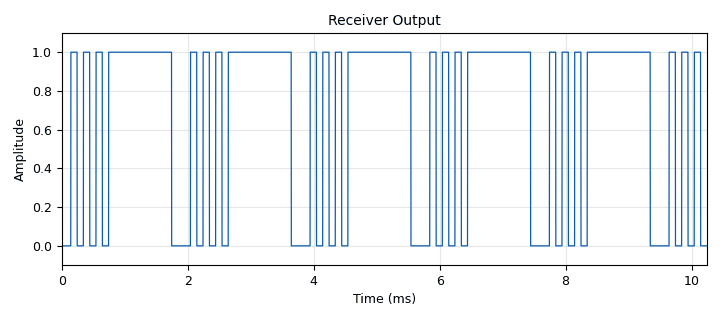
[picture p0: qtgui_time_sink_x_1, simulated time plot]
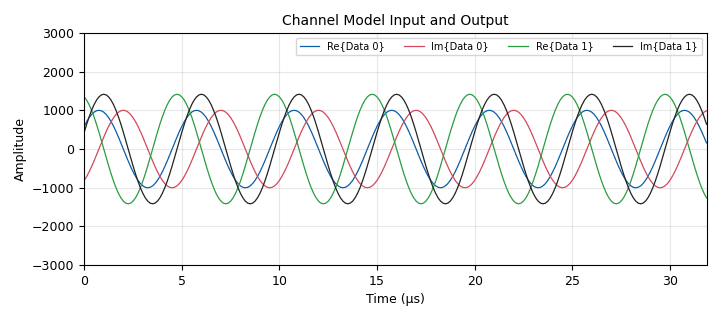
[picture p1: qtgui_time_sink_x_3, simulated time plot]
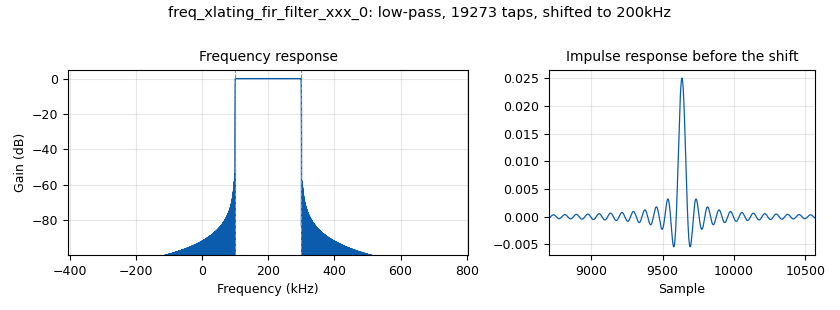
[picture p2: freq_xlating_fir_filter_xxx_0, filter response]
<?xml version='1.0' encoding='utf-8'?>
<?grc format='1' created='3.7.11'?>
<flow_graph>
<block>
<key>options</key>
<param><key>id</key><value>top_block</value></param>
<param><key>generate_options</key><value>qt_gui</value></param>
</block>
<block>
<key>variable</key>
<param><key>id</key><value>center_freq</value></param>
<param><key>value</key><value>313e6</value></param>
</block>
<block>
<key>variable</key>
<param><key>id</key><value>filter_cutoff</value></param>
<param><key>value</key><value>100e3</value></param>
</block>
<block>
<key>variable</key>
<param><key>id</key><value>filter_transition</value></param>
<param><key>value</key><value>1e3</value></param>
</block>
<block>
<key>variable_qtgui_entry</key>
<param><key>id</key><value>freq</value></param>
<param><key>value</key><value>313.2e6</value></param>
<param><key>type</key><value>real</value></param>
</block>
<block>
<key>variable_qtgui_entry</key>
<param><key>id</key><value>freq_match</value></param>
<param><key>value</key><value>1</value></param>
<param><key>type</key><value>real</value></param>
</block>
<block>
<key>variable_qtgui_range</key>
<param><key>id</key><value>freq_offset</value></param>
<param><key>value</key><value>0</value></param>
<param><key>orient</key><value>Qt.Horizontal</value></param>
<param><key>start</key><value>-1</value></param>
<param><key>step</key><value>0.001</value></param>
<param><key>stop</key><value>1</value></param>
</block>
<block>
<key>variable_qtgui_range</key>
<param><key>id</key><value>noise</value></param>
<param><key>value</key><value>0</value></param>
<param><key>orient</key><value>Qt.Horizontal</value></param>
<param><key>start</key><value>0</value></param>
<param><key>step</key><value>100</value></param>
<param><key>stop</key><value>5000</value></param>
</block>
<block>
<key>variable</key>
<param><key>id</key><value>samp_rate</value></param>
<param><key>value</key><value>8e6</value></param>
</block>
<block>
<key>variable_qtgui_entry</key>
<param><key>id</key><value>sensitivity</value></param>
<param><key>value</key><value>math.pi/2</value></param>
<param><key>type</key><value>real</value></param>
</block>
<block>
<key>variable</key>
<param><key>id</key><value>working_samp_rate</value></param>
<param><key>value</key><value>400e3</value></param>
</block>
<block>
<key>analog_phase_modulator_fc</key>
<param><key>id</key><value>analog_phase_modulator_fc_0</value></param>
<param><key>sensitivity</key><value>sensitivity</value></param>
</block>
<block>
<key>analog_sig_source_x</key>
<param><key>id</key><value>analog_sig_source_x_0</value></param>
<param><key>amp</key><value>1e3</value></param>
<param><key>freq</key><value>freq-center_freq</value></param>
<param><key>offset</key><value>0</value></param>
<param><key>type</key><value>complex</value></param>
<param><key>samp_rate</key><value>samp_rate</value></param>
<param><key>waveform</key><value>analog.GR_COS_WAVE</value></param>
</block>
<block>
<key>blocks_add_const_vxx</key>
<param><key>id</key><value>blocks_add_const_vxx_0</value></param>
<param><key>const</key><value>0</value></param>
<param><key>type</key><value>float</value></param>
</block>
<block>
<key>blocks_complex_to_arg</key>
<param><key>id</key><value>blocks_complex_to_arg_0</value></param>
<param><key>comment</key><value>Demodulator - Arg means phase angle 
of complex number.</value></param>
</block>
<block>
<key>blocks_multiply_xx</key>
<param><key>id</key><value>blocks_multiply_xx_0</value></param>
<param><key>type</key><value>complex</value></param>
</block>
<block>
<key>blocks_repeat</key>
<param><key>id</key><value>blocks_repeat_0</value></param>
<param><key>comment</key><value>The interpolation rate is set at 800.

The sample rate is 8 MHz.

Sample period is 1/8 MHz = 0.125 microseconds

Repeating the input 800 times results in a 
pulse length of 100 microseconds.

This gives us a nice square wave.</value></param>
<param><key>interp</key><value>800</value></param>
<param><key>type</key><value>float</value></param>
</block>
<block>
<key>blocks_throttle</key>
<param><key>id</key><value>blocks_throttle_0</value></param>
<param><key>samples_per_second</key><value>samp_rate</value></param>
<param><key>type</key><value>complex</value></param>
</block>
<block>
<key>blocks_uchar_to_float</key>
<param><key>id</key><value>blocks_uchar_to_float_0</value></param>
</block>
<block>
<key>blocks_vector_source_x</key>
<param><key>id</key><value>blocks_vector_source_x_0</value></param>
<param><key>type</key><value>float</value></param>
<param><key>repeat</key><value>True</value></param>
<param><key>vector</key><value>(-1, 1,1,1,-1,1,-1,1,-1,1,-1,-1,-1,-1,-1,-1,-1,-1,-1)</value></param>
</block>
<block>
<key>channels_channel_model</key>
<param><key>id</key><value>channels_channel_model_0</value></param>
<param><key>epsilon</key><value>freq_match</value></param>
<param><key>freq_offset</key><value>freq_offset</value></param>
<param><key>noise_voltage</key><value>noise</value></param>
<param><key>seed</key><value>0</value></param>
<param><key>taps</key><value>1.0 + 1.0j</value></param>
</block>
<block>
<key>digital_binary_slicer_fb</key>
<param><key>id</key><value>digital_binary_slicer_fb_1</value></param>
</block>
<block>
<key>freq_xlating_fir_filter_xxx</key>
<param><key>id</key><value>freq_xlating_fir_filter_xxx_0</value></param>
<param><key>center_freq</key><value>freq-center_freq</value></param>
<param><key>decim</key><value>int(samp_rate/working_samp_rate)</value></param>
<param><key>samp_rate</key><value>samp_rate</value></param>
<param><key>taps</key><value>firdes.low_pass(1,samp_rate,filter_cutoff,filter_transition)</value></param>
<param><key>type</key><value>ccc</value></param>
</block>
<block>
<key>import</key>
<param><key>id</key><value>import_0</value></param>
<param><key>comment</key><value>importing math for use of pi</value></param>
<param><key>import</key><value>import math</value></param>
</block>
<block>
<key>qtgui_time_sink_x</key>
<param><key>id</key><value>qtgui_time_sink_x_0</value></param>
<param><key>_enabled</key><value>0</value></param>
<param><key>color1</key><value>"blue"</value></param>
<param><key>label1</key><value></value></param>
<param><key>name</key><value>"Digital Input"</value></param>
<param><key>size</key><value>16384</value></param>
<param><key>srate</key><value>samp_rate</value></param>
<param><key>type</key><value>float</value></param>
<param><key>ymax</key><value>1.1</value></param>
<param><key>ymin</key><value>-1.1</value></param>
</block>
<block>
<key>qtgui_time_sink_x</key>
<param><key>id</key><value>qtgui_time_sink_x_0_0</value></param>
<param><key>_enabled</key><value>0</value></param>
<param><key>color1</key><value>"blue"</value></param>
<param><key>label1</key><value></value></param>
<param><key>color2</key><value>"red"</value></param>
<param><key>label2</key><value></value></param>
<param><key>name</key><value>"PSK Modulated Signal"</value></param>
<param><key>size</key><value>16384</value></param>
<param><key>srate</key><value>samp_rate</value></param>
<param><key>type</key><value>complex</value></param>
<param><key>ymax</key><value>1.1</value></param>
<param><key>ymin</key><value>-1.1</value></param>
</block>
<block>
<key>qtgui_time_sink_x</key>
<param><key>id</key><value>qtgui_time_sink_x_1</value></param>
<param><key>color1</key><value>"blue"</value></param>
<param><key>label1</key><value></value></param>
<param><key>name</key><value>"Receiver Output"</value></param>
<param><key>size</key><value>4096</value></param>
<param><key>srate</key><value>working_samp_rate</value></param>
<param><key>type</key><value>float</value></param>
<param><key>ymax</key><value>1.1</value></param>
<param><key>ymin</key><value>-0.1</value></param>
</block>
<block>
<key>qtgui_time_sink_x</key>
<param><key>id</key><value>qtgui_time_sink_x_2</value></param>
<param><key>_enabled</key><value>0</value></param>
<param><key>color1</key><value>"blue"</value></param>
<param><key>label1</key><value></value></param>
<param><key>name</key><value>"Demodulator Output"</value></param>
<param><key>size</key><value>1024</value></param>
<param><key>srate</key><value>working_samp_rate</value></param>
<param><key>type</key><value>float</value></param>
<param><key>ymax</key><value>4</value></param>
<param><key>ymin</key><value>-4</value></param>
</block>
<block>
<key>qtgui_time_sink_x</key>
<param><key>id</key><value>qtgui_time_sink_x_3</value></param>
<param><key>color1</key><value>"blue"</value></param>
<param><key>label1</key><value></value></param>
<param><key>color2</key><value>"red"</value></param>
<param><key>label2</key><value></value></param>
<param><key>color3</key><value>"green"</value></param>
<param><key>label3</key><value></value></param>
<param><key>color4</key><value>"black"</value></param>
<param><key>label4</key><value></value></param>
<param><key>name</key><value>"Channel Model Input and Output"</value></param>
<param><key>nconnections</key><value>2</value></param>
<param><key>size</key><value>256</value></param>
<param><key>srate</key><value>samp_rate</value></param>
<param><key>type</key><value>complex</value></param>
<param><key>ymax</key><value>3000</value></param>
<param><key>ymin</key><value>-3000</value></param>
</block>
<block>
<key>qtgui_waterfall_sink_x</key>
<param><key>id</key><value>qtgui_waterfall_sink_x_1</value></param>
<param><key>bw</key><value>samp_rate</value></param>
<param><key>fc</key><value>0</value></param>
<param><key>_enabled</key><value>0</value></param>
<param><key>fftsize</key><value>1024</value></param>
<param><key>name</key><value>"Transmitter Output"</value></param>
<param><key>showports</key><value>True</value></param>
<param><key>type</key><value>complex</value></param>
<param><key>wintype</key><value>firdes.WIN_BLACKMAN_hARRIS</value></param>
</block>
<block>
<key>qtgui_waterfall_sink_x</key>
<param><key>id</key><value>qtgui_waterfall_sink_x_2</value></param>
<param><key>bw</key><value>working_samp_rate</value></param>
<param><key>fc</key><value>0</value></param>
<param><key>_enabled</key><value>0</value></param>
<param><key>fftsize</key><value>1024</value></param>
<param><key>name</key><value>"Demodulator Input"</value></param>
<param><key>showports</key><value>True</value></param>
<param><key>type</key><value>complex</value></param>
<param><key>wintype</key><value>firdes.WIN_BLACKMAN_hARRIS</value></param>
</block>
<block>
<key>qtgui_waterfall_sink_x</key>
<param><key>id</key><value>qtgui_waterfall_sink_x_3</value></param>
<param><key>bw</key><value>samp_rate</value></param>
<param><key>fc</key><value>0</value></param>
<param><key>_enabled</key><value>0</value></param>
<param><key>fftsize</key><value>1024</value></param>
<param><key>name</key><value>"Phase Mod Output"</value></param>
<param><key>showports</key><value>True</value></param>
<param><key>type</key><value>complex</value></param>
<param><key>wintype</key><value>firdes.WIN_BLACKMAN_hARRIS</value></param>
</block>
<connection><source_block_id>analog_phase_modulator_fc_0</source_block_id><sink_block_id>blocks_multiply_xx_0</sink_block_id><source_key>0</source_key><sink_key>0</sink_key></connection>
<connection><source_block_id>analog_phase_modulator_fc_0</source_block_id><sink_block_id>qtgui_waterfall_sink_x_3</sink_block_id><source_key>0</source_key><sink_key>0</sink_key></connection>
<connection><source_block_id>analog_sig_source_x_0</source_block_id><sink_block_id>blocks_throttle_0</sink_block_id><source_key>0</source_key><sink_key>0</sink_key></connection>
<connection><source_block_id>blocks_add_const_vxx_0</source_block_id><sink_block_id>digital_binary_slicer_fb_1</sink_block_id><source_key>0</source_key><sink_key>0</sink_key></connection>
<connection><source_block_id>blocks_complex_to_arg_0</source_block_id><sink_block_id>blocks_add_const_vxx_0</sink_block_id><source_key>0</source_key><sink_key>0</sink_key></connection>
<connection><source_block_id>blocks_complex_to_arg_0</source_block_id><sink_block_id>qtgui_time_sink_x_2</sink_block_id><source_key>0</source_key><sink_key>0</sink_key></connection>
<connection><source_block_id>blocks_multiply_xx_0</source_block_id><sink_block_id>channels_channel_model_0</sink_block_id><source_key>0</source_key><sink_key>0</sink_key></connection>
<connection><source_block_id>blocks_multiply_xx_0</source_block_id><sink_block_id>qtgui_time_sink_x_0_0</sink_block_id><source_key>0</source_key><sink_key>0</sink_key></connection>
<connection><source_block_id>blocks_multiply_xx_0</source_block_id><sink_block_id>qtgui_time_sink_x_3</sink_block_id><source_key>0</source_key><sink_key>0</sink_key></connection>
<connection><source_block_id>blocks_repeat_0</source_block_id><sink_block_id>analog_phase_modulator_fc_0</sink_block_id><source_key>0</source_key><sink_key>0</sink_key></connection>
<connection><source_block_id>blocks_repeat_0</source_block_id><sink_block_id>qtgui_time_sink_x_0</sink_block_id><source_key>0</source_key><sink_key>0</sink_key></connection>
<connection><source_block_id>blocks_throttle_0</source_block_id><sink_block_id>blocks_multiply_xx_0</sink_block_id><source_key>0</source_key><sink_key>1</sink_key></connection>
<connection><source_block_id>blocks_uchar_to_float_0</source_block_id><sink_block_id>qtgui_time_sink_x_1</sink_block_id><source_key>0</source_key><sink_key>0</sink_key></connection>
<connection><source_block_id>blocks_vector_source_x_0</source_block_id><sink_block_id>blocks_repeat_0</sink_block_id><source_key>0</source_key><sink_key>0</sink_key></connection>
<connection><source_block_id>channels_channel_model_0</source_block_id><sink_block_id>freq_xlating_fir_filter_xxx_0</sink_block_id><source_key>0</source_key><sink_key>0</sink_key></connection>
<connection><source_block_id>channels_channel_model_0</source_block_id><sink_block_id>qtgui_time_sink_x_3</sink_block_id><source_key>0</source_key><sink_key>1</sink_key></connection>
<connection><source_block_id>digital_binary_slicer_fb_1</source_block_id><sink_block_id>blocks_uchar_to_float_0</sink_block_id><source_key>0</source_key><sink_key>0</sink_key></connection>
<connection><source_block_id>freq_xlating_fir_filter_xxx_0</source_block_id><sink_block_id>blocks_complex_to_arg_0</sink_block_id><source_key>0</source_key><sink_key>0</sink_key></connection>
<connection><source_block_id>freq_xlating_fir_filter_xxx_0</source_block_id><sink_block_id>qtgui_waterfall_sink_x_2</sink_block_id><source_key>0</source_key><sink_key>0</sink_key></connection>
</flow_graph>
